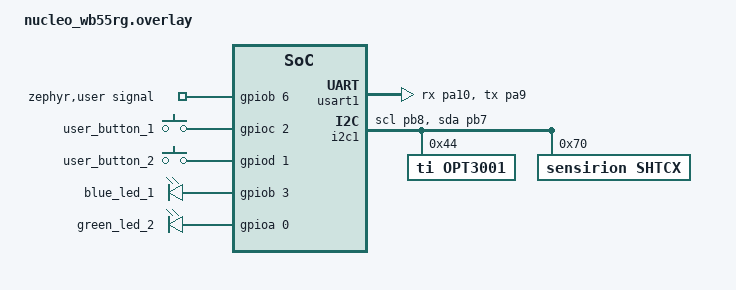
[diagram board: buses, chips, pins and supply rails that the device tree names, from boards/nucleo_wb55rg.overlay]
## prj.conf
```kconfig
#
# Copyright (c) 2023 Nordic Semiconductor ASA
#
# SPDX-License-Identifier: Apache-2.0
#
CONFIG_BT=y
CONFIG_BT_PERIPHERAL=y
CONFIG_BT_DEVICE_NAME="BTH"

#CONFIG_BT_HCI_ACL_FLOW_CONTROL=y
#CONFIG_BT_EXT_ADV=y
#^ breaks BLE w/ STM32wb55

CONFIG_SENSOR=y
CONFIG_I2C=y
CONFIG_GPIO=y

CONFIG_PM_DEVICE=y
```

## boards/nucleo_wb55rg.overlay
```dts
&pinctrl {
    usart1_rx_pa10: usart1_rx_pa10 {
        pinmux = < STM32_PINMUX('A', 10, AF7) >;
    };

    usart1_tx_pa9: usart1_tx_pa9 {
        pinmux = < STM32_PINMUX('A', 9, AF7) >;
    };
};

// usart 1 on PA9 and PA10
&usart1 {
    pinctrl-0 = <&usart1_rx_pa10 &usart1_tx_pa9>;
};

// i2c1 for sht
&i2c1 {
    pinctrl-0 = <&i2c1_scl_pb8 &i2c1_sda_pb7>;
    status = "okay";
    pinctrl-names = "default";
    
	opt3001: opt3001@44 {
		compatible = "ti,opt3001";
		reg = <0x44>;
	};
    shtcx: shtcx@70 {
		compatible = "sensirion,shtcx";
		reg = <0x70>;
		chip = "shtc3";
		measure-mode = "normal";
	};
};

&gpioa {
	status = "okay";
};
&gpiob {
	status = "okay";
};
&gpioc {
	status = "okay";
};
&gpiod {
	status = "okay";
};

/ {
	zephyr,user {
		signal-gpios =  < &gpiob 6 GPIO_ACTIVE_HIGH >; // Test scl
	};

	aliases {
		led1 = &green_led_2;
	};
};

// door 
&user_button_1 {
	gpios = < &gpioc 2 GPIO_ACTIVE_HIGH >; // Door uSwitch
};

&user_button_2 {
	gpios = < &gpiod 1 GPIO_ACTIVE_HIGH >; // CTRL Btn
};

&blue_led_1 {
	gpios = < &gpiob 3 GPIO_ACTIVE_HIGH >; // User LED
};

&green_led_2 {
	gpios = < &gpioa 0 GPIO_ACTIVE_HIGH >; // Buzzer
};
// TODO add VCC ADC...
```

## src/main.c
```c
/*
 * Copyright (c) 2023 Nordic Semiconductor ASA
 *
 * SPDX-License-Identifier: Apache-2.0
 */

#include "zephyr/dt-bindings/gpio/gpio.h"
#include "zephyr/sys/time_units.h"
#include <zephyr/device.h>
#include <zephyr/devicetree.h>
#include <zephyr/drivers/gpio.h>
#include <zephyr/drivers/i2c.h>
#include <zephyr/drivers/sensor.h>
#include <zephyr/kernel.h>

#include <zephyr/bluetooth/bluetooth.h>
#include <zephyr/bluetooth/gap.h>
#include <zephyr/bluetooth/uuid.h>

/*
 ***************************************************************************
 * Device tree definitions
 */

// https://github.com/aaron-mohtar-co/Lemon-IoT-LTE-nRF9160/tree/main/Examples/i2c_sensor
// #define OPT3001_DEV DT_NODELABEL(opt3001)
#define SHTC_DEV DT_NODELABEL(shtcx)
#define DOOR DT_ALIAS(sw0)
#define CTRL DT_ALIAS(sw1)
#define LED0 DT_ALIAS(led0)
#define BUZZER DT_ALIAS(led1)

// DeviceTree devices
const struct gpio_dt_spec buzzer = GPIO_DT_SPEC_GET(BUZZER, gpios);
const struct gpio_dt_spec led = GPIO_DT_SPEC_GET(LED0, gpios);
const struct gpio_dt_spec door_sw = GPIO_DT_SPEC_GET(DOOR, gpios);
const struct gpio_dt_spec ctrl_btn = GPIO_DT_SPEC_GET(CTRL, gpios);
//const struct device *light = DEVICE_DT_GET(OPT3001_DEV);
const struct device *sht = DEVICE_DT_GET(SHTC_DEV);

static struct gpio_callback door_cb;
static struct gpio_callback ctrl_cb;

/*
 ***************************************************************************
 * Bluetooth BtHome setup.
 ****************************************************************************
 */
#define SERVICE_DATA_LEN 9
#define SERVICE_UUID 0xfcd2 /* BTHome service UUID */
#define IDX_TEMPL 4         /* Index of lo byte of temp in service data*/
#define IDX_TEMPH 5         /* Index of hi byte of temp in service data*/
#define IDX_HUMDL 7         /* Index of lo byte of humidity in service data*/
#define IDX_HUMDH 8         /* Index of hi byte of humidity in service data*/

static uint8_t service_data[SERVICE_DATA_LEN] = {
    BT_UUID_16_ENCODE(SERVICE_UUID),
    0x40,
    0x02, /* Temperature */
    0xc4, /* Low byte */
    0x00, /* High byte */
    0x03, /* Humidity */
    0xbf, /* 50.55%  low byte*/
    0x13, /* 50.55%  high byte*/
};

static const struct bt_data ad[] = {
    BT_DATA_BYTES(BT_DATA_FLAGS, BT_LE_AD_GENERAL | BT_LE_AD_NO_BREDR),
    BT_DATA(BT_DATA_NAME_COMPLETE, CONFIG_BT_DEVICE_NAME,
            sizeof(CONFIG_BT_DEVICE_NAME) - 1),
   BT_DATA(BT_DATA_SVC_DATA16,
            service_data, ARRAY_SIZE(service_data)),
};

/*
 #define ADV_PARAMS                                                             \
   BT_LE_ADV_PARAM(BT_LE_ADV_OPT_USE_NAME, BT_GAP_ADV_FAST_INT_MIN_2,          \
                    BT_GAP_ADV_FAST_INT_MAX_2, NULL)
*/

#define ADV_PARAMS BT_LE_ADV_PARAM(BT_LE_ADV_OPT_USE_IDENTITY, \
				  BT_GAP_ADV_SLOW_INT_MIN, \
				  BT_GAP_ADV_SLOW_INT_MAX, NULL)


/*
 ***************************************************************************
 * Door alarm setup.
 ****************************************************************************
 */

// TODO this code is disgusting, software debounce the buttons
// https://github.com/ubieda/zephyr_button_debouncing/tree/master
int ctrl_btn_state = 0;
int ctrl_btn_dt = 0;
// Beware this function assumes debounced button.
void ctrl_button_pressed(const struct device *dev, struct gpio_callback *cb,
                         uint32_t pins) {
  printk("Control button pressed at %" PRIu32 "\n", k_cycle_get_32());

  switch (ctrl_btn_state) {
  // Idle
  case 0:
    if (gpio_pin_get_dt(&ctrl_btn) == 1) {
      printk("Control button pressed at %" PRIu32 "\n", k_cycle_get_32());
      ctrl_btn_state = 1;
    }
    break;
  // Button released
  case 1:
    if (gpio_pin_get_dt(&ctrl_btn) == 0) {
      if (k_cyc_to_ms_ceil32(k_cycle_get_32()) - ctrl_btn_dt < 3000) {
        printk("Ctrl Btn released, going to quiet mode.\n");
        ctrl_btn_state = 2;
        // TODO Force buzzer off for 30s
      } else {
        printk("Ctrl Btn released, going to shutdown mode.\n");
        ctrl_btn_state = 3;
        // TODO force shutdown
      }
    }
    break;
  case 2:
  case 3:
    ctrl_btn_state = 0;
    break;
  }
  ctrl_btn_dt = k_cyc_to_ms_ceil32(k_cycle_get_32());
}

int door_switch_dt = 0;
void door_state_change(const struct device *dev, struct gpio_callback *cb,
                       uint32_t pins) {
  printk("Door state change at %" PRIu32 "\n", k_cycle_get_32());
  int door_state = gpio_pin_get_dt(&door_sw);
  if (door_state == 0) {
    door_switch_dt = k_cyc_to_ms_ceil32(k_cycle_get_32());
    gpio_pin_set_dt(&buzzer, 0);
  } else {
    int dt = k_cyc_to_ms_ceil32(k_cycle_get_32()) - door_switch_dt;
    if (dt > 1000) {
      gpio_pin_set_dt(&buzzer, 1);
    }
  }
}


/*
 ***************************************************************************
 * Bluetooth functions.
 ****************************************************************************
 */
static int bt_ready() {

  printk("Bluetooth initialized\n");

  /* Start advertising */
  int err = bt_le_adv_start(ADV_PARAMS, ad, ARRAY_SIZE(ad), NULL, 0);
  if (err) {
    printk("Advertising failed to start (err %d)\n", err);
  }

  printk("Advertising started.\n");
  return err;
}

/*
 ***************************************************************************
 * Main
 ****************************************************************************
 */
int main(void) {
  int err;

  printk("Hello !\n");

  // // ----- Init Door Switch + IRQ -----
  // err = gpio_pin_configure_dt(&door_sw, GPIO_INPUT);
  // err = gpio_pin_interrupt_configure_dt(&door_sw, GPIO_INT_EDGE_BOTH);
  // if (err != 0) {
  //   printk("Error %d: failed to configure interrupt on %s pin %d\n", err,
  //          door_sw.port->name, door_sw.pin);
  //   return err;
  // }
  // gpio_init_callback(&door_cb, door_state_change, BIT(door_sw.pin));
  // gpio_add_callback(door_sw.port, &door_cb);

  // ----- Init CTRL Button + IRQ -----
  // err = gpio_pin_configure_dt(&ctrl_btn, GPIO_INPUT | GPIO_PULL_DOWN);
  // err = gpio_pin_interrupt_configure_dt(&ctrl_btn, GPIO_INT_EDGE_BOTH);
  // if (err != 0) {
  //   printk("Error %d: failed to configure interrupt on %s pin %d\n", err,
  //          ctrl_btn.port->name, ctrl_btn.pin);
  //   return err;
  // }
  // gpio_init_callback(&ctrl_cb, ctrl_button_pressed, BIT(ctrl_btn.pin));
  // gpio_add_callback(ctrl_btn.port, &ctrl_cb);
 
  // ----- Init Buzzer -----
  gpio_pin_configure_dt(&buzzer, GPIO_OUTPUT);
  gpio_pin_set_dt(&buzzer, 1);
  k_msleep(100);
  gpio_pin_set_dt(&buzzer, 0);
  k_msleep(100);

  // ----- Init LED -----
  gpio_pin_configure_dt(&led, GPIO_OUTPUT);

  // ----- SHT init -----
  if (!device_is_ready(sht)) {
   printk("Device %s is not ready\n", sht->name);

  } else {
   printk("Found device %s. Reading sensor data\n", sht->name);
  }

  
  // while (1) {
  //   ;
  // }
  // ----- Init BLE -----
 
  printk("CONFIG_BT_DEVICE_NAME: %s\n", CONFIG_BT_DEVICE_NAME);
  err = bt_enable(NULL);
  if (err) {
    printk("Bluetooth init failed (err %d)\n", err);

    for (int i=0; i<5; ++i){
      gpio_pin_set_dt(&buzzer, 1);
      k_msleep(100);
      gpio_pin_set_dt(&buzzer, 0);
      k_msleep(1000);
    }

    return 0;
  }

  printk("Bluetooth init done.\n");

  err = bt_ready();
  if (err) {
    printk("Bluetooth ready failed (err %d)\n", err);

    for (int i=0; i<10; ++i){
      gpio_pin_set_dt(&buzzer, 1);
      k_msleep(100);
      gpio_pin_set_dt(&buzzer, 0);
      k_msleep(1000);
    } 
    return 0;
  }

  printk("Bluetooth ready.\n");
  

  // ----- Main loop -----
  for (;;) {

    /* Get temp & humidity */
		struct sensor_value temp, hum;

		int err = sensor_sample_fetch(sht);
		if (err == 0) {
			err = sensor_channel_get(sht, SENSOR_CHAN_AMBIENT_TEMP,
						&temp);
		}
		if (err == 0) {
			err = sensor_channel_get(sht, SENSOR_CHAN_HUMIDITY,
						&hum);
		}
		if (err != 0) {
		  printf("SHT: failed: %d\n", err);
		}
    else {
      double ftemp = sensor_value_to_double(&temp);
      double fhumd = sensor_value_to_double(&hum);
      printf("SHT: %.2f Cel ; %0.2f %%RH\n", ftemp, fhumd);

      service_data[IDX_TEMPH] = (int)(ftemp * 100) >> 8;
      service_data[IDX_TEMPL] = (int)(ftemp * 100) & 0xff;

      service_data[IDX_HUMDH] = (int)(fhumd * 100) >> 8;
      service_data[IDX_HUMDL] = (int)(fhumd * 100) & 0xff;
    }

    err = bt_le_adv_update_data(ad, ARRAY_SIZE(ad), NULL, 0);
    if (err) {
      printk("Failed to update advertising data (err %d)\n", err);
      for (int i=0; i<20; ++i){
        gpio_pin_set_dt(&buzzer, 1);
        k_msleep(100);
        gpio_pin_set_dt(&buzzer, 0);
        k_msleep(1000);
      }
    }
    k_sleep(K_MSEC(BT_GAP_ADV_SLOW_INT_MIN));
  }
  return 0;
}
```

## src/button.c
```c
/* adapted from https://github.com/ubieda/zephyr_button_debouncing */

#include <zephyr/kernel.h>
#include <zephyr/drivers/gpio.h>
#include "button.h"


static struct gpio_callback button_cb_data;

static button_event_handler_t user_cb;

static void cooldown_expired(struct k_work *work)
{
    ARG_UNUSED(work);

    int val = gpio_pin_get_dt(&button);
    enum button_evt evt = val ? BUTTON_EVT_PRESSED : BUTTON_EVT_RELEASED;
    if (user_cb) {
        user_cb(evt);
    }
}

static K_WORK_DELAYABLE_DEFINE(cooldown_work, cooldown_expired);

void button_pressed(const struct device *dev, struct gpio_callback *cb,
		    uint32_t pins)
{
    k_work_reschedule(&cooldown_work, K_MSEC(15));
}

int button_init(const struct gpio_dt_spec * button, button_event_handler_t handler)
{
    int err = -1;

    if (!handler) {
        return -EINVAL;
    }

    user_cb = handler;

	if (!device_is_ready(button.port)) {
		return -EIO;
	}

	err = gpio_pin_configure_dt(button, GPIO_INPUT);
	if (err) {
        return err;
	}

	err = gpio_pin_interrupt_configure_dt(button, GPIO_INT_EDGE_BOTH);
	if (err) {
		return err;
	}

	gpio_init_callback(&button_cb_data, button_pressed, BIT(button->pin));
	err = gpio_add_callback(button->port, &button_cb_data);
    if (err) {
        return err;
    }

    return 0;
}

/*********************************************

#include <zephyr/kernel.h>
#include "button.h"

#define SW0_NODE	DT_ALIAS(sw0)
static const struct gpio_dt_spec button = GPIO_DT_SPEC_GET(SW0_NODE, gpios); 

static char *helper_button_evt_str(enum button_evt evt)
{
	switch (evt) {
	case BUTTON_EVT_PRESSED:
		return "Pressed";
	case BUTTON_EVT_RELEASED:
		return "Released";
	default:
		return "Unknown";
	}
}

static void button_event_handler(enum button_evt evt)
{
	printk("Button event: %s\n", helper_button_evt_str(evt));
}

void main(void)
{
	int err = -1;

	printk("Button Debouncing Sample!\n");

	err = button_init(&button, button_event_handler);
	if (err) {
		printk("Button Init failed: %d\n", err);
		return;
	}

	printk("Init succeeded. Waiting for event...\n");
}

*********************************************/
```

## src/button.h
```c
/* adapted from https://github.com/ubieda/zephyr_button_debouncing */

#ifndef _BUTTON_H_
#define _BUTTON_H_

enum button_evt {
    BUTTON_EVT_PRESSED,
    BUTTON_EVT_RELEASED
};

typedef void (*button_event_handler_t)(enum button_evt evt);

int button_init(onst struct gpio_dt_spec * button, button_event_handler_t handler);

#endif /* _BUTTON_H_ */
```
